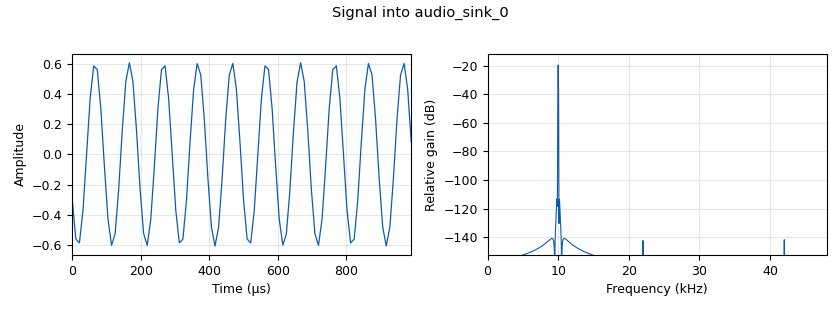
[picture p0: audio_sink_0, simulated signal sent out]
options:
  parameters:
    generate_options: qt_gui
    id: sound_sour
    output_language: python
    title: Not titled yet
  states: {}

blocks:
- name: samp_rate
  id: variable
  parameters:
    value: '96000'
  states: {}
- name: analog_sig_source_x_0
  id: analog_sig_source_x
  parameters:
    amp: '0.607106781'
    freq: '10000'
    offset: '0'
    phase: '0'
    samp_rate: samp_rate
    type: float
    waveform: analog.GR_COS_WAVE
  states: {}
- name: audio_sink_0
  id: audio_sink
  parameters:
    device_name: plughw:3,0,1
    samp_rate: samp_rate
  states: {}
- name: audio_source_0
  id: audio_source
  parameters:
    device_name: '"plughw:1,0"'
    ok_to_block: 'False'
    samp_rate: samp_rate
  states: {state: disabled}
- name: qtgui_sink_x_0
  id: qtgui_sink_x
  parameters:
    bw: samp_rate
    fc: '0'
    fftsize: '1024'
    type: float
  states: {state: disabled}

connections:
- [analog_sig_source_x_0, '0', audio_sink_0, '0']
- [audio_source_0, '0', qtgui_sink_x_0, '0']

metadata:
  file_format: 1
